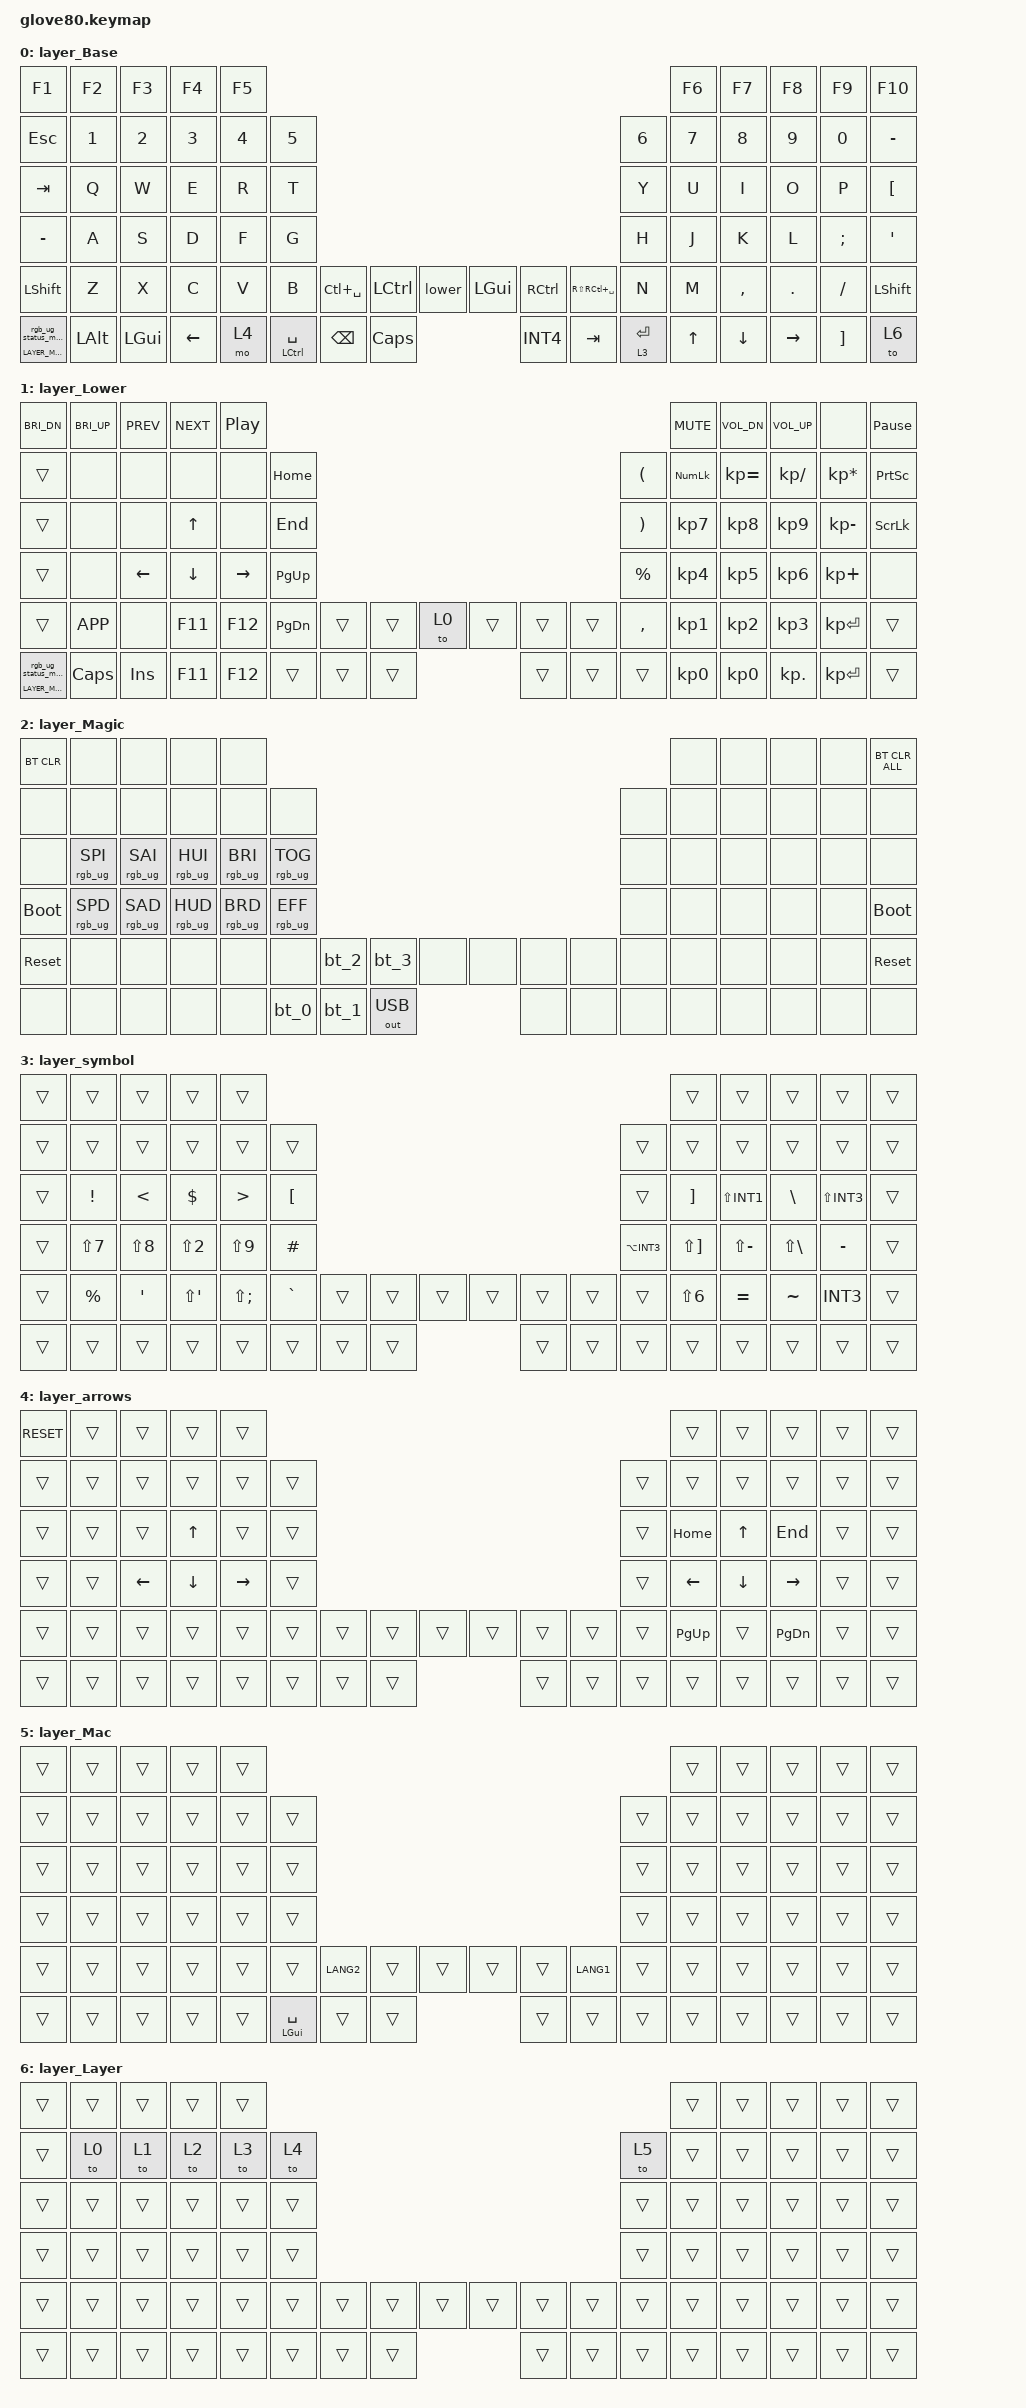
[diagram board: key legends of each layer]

/*
 * Copyright (c) 2020 The ZMK Contributors
 * Copyright (c) 2023 Innaworks Development Limited, trading as MoErgo
 *
 * SPDX-License-Identifier: MIT
 */


/* THIS FILE WAS GENERATED BY GLOVE80 LAYOUT EDITOR
 *
 * This file was generated automatically. You may or may not want to
 * edit it directly.
 */

#include <behaviors.dtsi>
/* Include all behaviour includes needed */
#include <dt-bindings/zmk/outputs.h>
#include <dt-bindings/zmk/keys.h>
#include <dt-bindings/zmk/bt.h>
#include <dt-bindings/zmk/rgb.h>

/* Automatically generated layer name #define */
#define LAYER_Base 0
#define LAYER_Lower 1
#define LAYER_Magic 2
#define LAYER_symbol 3
#define LAYER_arrows 4
#define LAYER_Mac 5
#define LAYER_Layer 6

/* To deal with the situation where there is no Lower layer, to keep &lower happy */
#ifndef LAYER_Lower
#define LAYER_Lower 0
#endif

/* Custom Device-tree */



/* Glove80 system behavior & macros */
/ {
    behaviors {
        // For the "layer" key, it'd nice to be able to use it as either a shift or a toggle.
        // Configure it as a tap dance, so the first tap (or hold) is a &mo and the second tap is a &to
        lower: lower {
            compatible = "zmk,behavior-tap-dance";
            label = "LAYER_TAP_DANCE";
            #binding-cells = <0>;
            tapping-term-ms = <200>;
            bindings = <&mo LAYER_Lower>, <&to LAYER_Lower>;
        };
    };
};

/ {
    macros {
        rgb_ug_status_macro: rgb_ug_status_macro {
            label = "RGB_UG_STATUS";
            compatible = "zmk,behavior-macro";
            #binding-cells = <0>;
            bindings
                = <&rgb_ug RGB_STATUS>;
        };

        bt_0: bt_0 {
            label = "BT_0";
            compatible = "zmk,behavior-macro";
            #binding-cells = <0>;
            bindings
                = <&out OUT_BLE>,
                  <&bt BT_SEL 0>;
        };

        bt_1: bt_1 {
            label = "BT_1";
            compatible = "zmk,behavior-macro";
            #binding-cells = <0>;
            bindings
                = <&out OUT_BLE>,
                  <&bt BT_SEL 1>;
        };

        bt_2: bt_2 {
            label = "BT_2";
            compatible = "zmk,behavior-macro";
            #binding-cells = <0>;
            bindings
                = <&out OUT_BLE>,
                  <&bt BT_SEL 2>;
        };

        bt_3: bt_3 {
            label = "BT_3";
            compatible = "zmk,behavior-macro";
            #binding-cells = <0>;
            bindings
                = <&out OUT_BLE>,
                  <&bt BT_SEL 3>;
        };
    };
};

/ {
    behaviors {
        magic: magic {
            compatible = "zmk,behavior-hold-tap";
            label = "MAGIC_HOLD_TAP";
            #binding-cells = <2>;
            flavor = "tap-preferred";
            tapping-term-ms = <200>;
            bindings = <&mo>, <&rgb_ug_status_macro>;
        };
    };
};

/* #define for key positions */
#define POS_LH_T1 52
#define POS_LH_T2 53
#define POS_LH_T3 54
#define POS_LH_T4 69
#define POS_LH_T5 70
#define POS_LH_T6 71
#define POS_LH_C1R2 15
#define POS_LH_C1R3 27
#define POS_LH_C1R4 39
#define POS_LH_C1R5 51
#define POS_LH_C2R1 4
#define POS_LH_C2R2 14
#define POS_LH_C2R3 26
#define POS_LH_C2R4 38
#define POS_LH_C2R5 50
#define POS_LH_C2R6 68
#define POS_LH_C3R1 3
#define POS_LH_C3R2 13
#define POS_LH_C3R3 25
#define POS_LH_C3R4 37
#define POS_LH_C3R5 49
#define POS_LH_C3R6 67
#define POS_LH_C4R1 2
#define POS_LH_C4R2 12
#define POS_LH_C4R3 24
#define POS_LH_C4R4 36
#define POS_LH_C4R5 48
#define POS_LH_C4R6 66
#define POS_LH_C5R1 1
#define POS_LH_C5R2 11
#define POS_LH_C5R3 23
#define POS_LH_C5R4 35
#define POS_LH_C5R5 47
#define POS_LH_C5R6 65
#define POS_LH_C6R1 0
#define POS_LH_C6R2 10
#define POS_LH_C6R3 22
#define POS_LH_C6R4 34
#define POS_LH_C6R5 46
#define POS_LH_C6R6 64
#define POS_RH_T1 57
#define POS_RH_T2 56
#define POS_RH_T3 55
#define POS_RH_T4 74
#define POS_RH_T5 73
#define POS_RH_T6 72
#define POS_RH_C1R2 16
#define POS_RH_C1R3 28
#define POS_RH_C1R4 40
#define POS_RH_C1R5 58
#define POS_RH_C2R1 5
#define POS_RH_C2R2 17
#define POS_RH_C2R3 29
#define POS_RH_C2R4 41
#define POS_RH_C2R5 59
#define POS_RH_C2R6 75
#define POS_RH_C3R1 6
#define POS_RH_C3R2 18
#define POS_RH_C3R3 30
#define POS_RH_C3R4 42
#define POS_RH_C3R5 60
#define POS_RH_C3R6 76
#define POS_RH_C4R1 7
#define POS_RH_C4R2 19
#define POS_RH_C4R3 31
#define POS_RH_C4R4 43
#define POS_RH_C4R5 61
#define POS_RH_C4R6 77
#define POS_RH_C5R1 8
#define POS_RH_C5R2 20
#define POS_RH_C5R3 32
#define POS_RH_C5R4 44
#define POS_RH_C5R5 62
#define POS_RH_C5R6 78
#define POS_RH_C6R1 9
#define POS_RH_C6R2 21
#define POS_RH_C6R3 33
#define POS_RH_C6R4 45
#define POS_RH_C6R5 63
#define POS_RH_C6R6 79

    /* Custom Defined Behaviors */
/ {
    
};

    /* Automatically generated keymap */
/ {
    keymap {
        compatible = "zmk,keymap";


        layer_Base {
            bindings = <
               &kp F1    &kp F2    &kp F3    &kp F4  &kp F5                                                                                                &kp F6    &kp F7     &kp F8    &kp F9    &kp F10
              &kp ESC    &kp N1    &kp N2    &kp N3  &kp N4  &kp N5                                                                                &kp N6  &kp N7    &kp N8     &kp N9    &kp N0  &kp MINUS
              &kp TAB     &kp Q     &kp W     &kp E   &kp R   &kp T                                                                                 &kp Y   &kp U     &kp I      &kp O     &kp P   &kp LBKT
            &kp MINUS     &kp A     &kp S     &kp D   &kp F   &kp G                                                                                 &kp H   &kp J     &kp K      &kp L  &kp SEMI   &kp SINGLE_QUOTE
            &kp LSHFT     &kp Z     &kp X     &kp C   &kp V   &kp B    &kp LC(SPACE)  &kp LCTRL    &lower  &kp LGUI  &kp RCTRL  &kp RS(RC(SPACE))   &kp N   &kp M  &kp COMMA    &kp DOT  &kp SLASH  &kp LSHFT
 &magic LAYER_Magic 0  &kp LALT  &kp LGUI  &kp LEFT   &mo 4          &mt LCTRL SPACE   &kp BSPC  &kp CAPS  &kp INT4    &kp TAB          &lt 3 RET          &kp UP  &kp DOWN  &kp RIGHT  &kp RBKT      &to 6
            >;
        };

        layer_Lower {
            bindings = <
         &kp C_BRI_DN  &kp C_BRI_UP      &kp C_PREV      &kp C_NEXT         &kp C_PP                                                                                    &kp C_MUTE  &kp C_VOL_DN  &kp C_VOL_UP            &none  &kp PAUSE_BREAK
               &trans         &none           &none           &none            &none   &kp HOME                                                   &kp LEFT_PARENTHESIS  &kp KP_NUM  &kp KP_EQUAL  &kp KP_SLASH  &kp KP_MULTIPLY  &kp PRINTSCREEN
               &trans         &none           &none    &kp UP_ARROW            &none    &kp END                                                  &kp RIGHT_PARENTHESIS   &kp KP_N7     &kp KP_N8     &kp KP_N9     &kp KP_MINUS   &kp SCROLLLOCK
               &trans         &none  &kp LEFT_ARROW  &kp DOWN_ARROW  &kp RIGHT_ARROW  &kp PG_UP                                                            &kp PERCENT   &kp KP_N4     &kp KP_N5     &kp KP_N6      &kp KP_PLUS            &none
               &trans     &kp K_APP           &none         &kp F11          &kp F12  &kp PG_DN  &trans  &trans   &to 0  &trans  &trans  &trans              &kp COMMA   &kp KP_N1     &kp KP_N2     &kp KP_N3     &kp KP_ENTER           &trans
 &magic LAYER_Magic 0      &kp CAPS         &kp INS         &kp F11          &kp F12             &trans  &trans  &trans  &trans  &trans  &trans                          &kp KP_N0     &kp KP_N0    &kp KP_DOT     &kp KP_ENTER           &trans
            >;
        };

        layer_Magic {
            bindings = <
  &bt BT_CLR            &none            &none            &none            &none                                                                                  &none   &none   &none   &none  &bt BT_CLR_ALL
       &none            &none            &none            &none            &none            &none                                                         &none   &none   &none   &none   &none           &none
       &none  &rgb_ug RGB_SPI  &rgb_ug RGB_SAI  &rgb_ug RGB_HUI  &rgb_ug RGB_BRI  &rgb_ug RGB_TOG                                                         &none   &none   &none   &none   &none           &none
 &bootloader  &rgb_ug RGB_SPD  &rgb_ug RGB_SAD  &rgb_ug RGB_HUD  &rgb_ug RGB_BRD  &rgb_ug RGB_EFF                                                         &none   &none   &none   &none   &none     &bootloader
  &sys_reset            &none            &none            &none            &none            &none   &bt_2   &bt_3         &none   &none   &none   &none   &none   &none   &none   &none   &none      &sys_reset
       &none            &none            &none            &none            &none                    &bt_0   &bt_1  &out OUT_USB   &none   &none   &none           &none   &none   &none   &none           &none
            >;
        };

        layer_symbol {
            bindings = <
 &trans      &trans        &trans         &trans        &trans                                                                                 &trans         &trans        &trans        &trans  &trans
 &trans      &trans        &trans         &trans        &trans     &trans                                                        &trans        &trans         &trans        &trans        &trans  &trans
 &trans    &kp EXCL        &kp LT       &kp DLLR        &kp GT   &kp LBKT                                                        &trans      &kp RBKT   &kp LS(INT1)      &kp BSLH  &kp LS(INT3)  &trans
 &trans  &kp LS(N7)    &kp LS(N8)     &kp LS(N2)    &kp LS(N9)   &kp HASH                                                  &kp LA(INT3)  &kp LS(RBKT)  &kp LS(MINUS)  &kp LS(BSLH)     &kp MINUS  &trans
 &trans   &kp PRCNT  &kp SINGLE_QUOTE  &kp LS(SINGLE_QUOTE)  &kp LS(SEMI)  &kp GRAVE  &trans  &trans  &trans  &trans  &trans  &trans        &trans    &kp LS(N6)      &kp EQUAL     &kp TILDE      &kp INT3  &trans
 &trans      &trans        &trans         &trans        &trans             &trans  &trans  &trans  &trans  &trans  &trans                      &trans         &trans        &trans        &trans  &trans
            >;
        };

        layer_arrows {
            bindings = <
 &kp C_RESET  &trans    &trans    &trans     &trans                                                                     &trans    &trans     &trans  &trans  &trans
      &trans  &trans    &trans    &trans     &trans  &trans                                                  &trans     &trans    &trans     &trans  &trans  &trans
      &trans  &trans    &trans    &kp UP     &trans  &trans                                                  &trans   &kp HOME    &kp UP    &kp END  &trans  &trans
      &trans  &trans  &kp LEFT  &kp DOWN  &kp RIGHT  &trans                                                  &trans   &kp LEFT  &kp DOWN  &kp RIGHT  &trans  &trans
      &trans  &trans    &trans    &trans     &trans  &trans  &trans  &trans  &trans  &trans  &trans  &trans  &trans  &kp PG_UP    &trans  &kp PG_DN  &trans  &trans
      &trans  &trans    &trans    &trans     &trans          &trans  &trans  &trans  &trans  &trans  &trans             &trans    &trans     &trans  &trans  &trans
            >;
        };

        layer_Mac {
            bindings = <
 &trans  &trans  &trans  &trans  &trans                                                                             &trans  &trans  &trans  &trans  &trans
 &trans  &trans  &trans  &trans  &trans  &trans                                                             &trans  &trans  &trans  &trans  &trans  &trans
 &trans  &trans  &trans  &trans  &trans  &trans                                                             &trans  &trans  &trans  &trans  &trans  &trans
 &trans  &trans  &trans  &trans  &trans  &trans                                                             &trans  &trans  &trans  &trans  &trans  &trans
 &trans  &trans  &trans  &trans  &trans  &trans       &kp LANG2  &trans  &trans  &trans  &trans  &kp LANG1  &trans  &trans  &trans  &trans  &trans  &trans
 &trans  &trans  &trans  &trans  &trans          &mt LGUI SPACE  &trans  &trans  &trans  &trans     &trans          &trans  &trans  &trans  &trans  &trans
            >;
        };

        layer_Layer {
            bindings = <
 &trans  &trans  &trans  &trans  &trans                                                                  &trans  &trans  &trans  &trans  &trans
 &trans   &to 0   &to 1   &to 2   &to 3   &to 4                                                   &to 5  &trans  &trans  &trans  &trans  &trans
 &trans  &trans  &trans  &trans  &trans  &trans                                                  &trans  &trans  &trans  &trans  &trans  &trans
 &trans  &trans  &trans  &trans  &trans  &trans                                                  &trans  &trans  &trans  &trans  &trans  &trans
 &trans  &trans  &trans  &trans  &trans  &trans  &trans  &trans  &trans  &trans  &trans  &trans  &trans  &trans  &trans  &trans  &trans  &trans
 &trans  &trans  &trans  &trans  &trans          &trans  &trans  &trans  &trans  &trans  &trans          &trans  &trans  &trans  &trans  &trans
            >;
        };

    };
};
